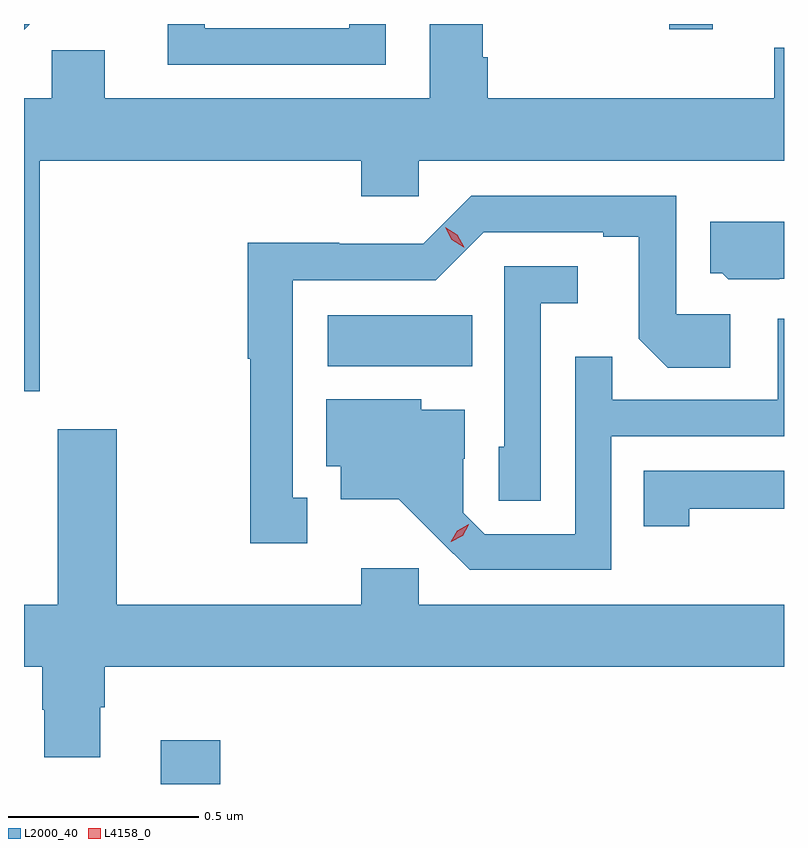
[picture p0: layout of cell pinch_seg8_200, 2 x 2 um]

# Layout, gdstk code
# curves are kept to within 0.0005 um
import gdstk
lib = gdstk.Library(unit=1e-6, precision=1e-09)
def R(c, l, rs):  # rectangles x0, y0, x1, y1
    for r in rs: c.add(gdstk.rectangle(r[:2], r[2:], *l))
def P(c, l, *ps):  # polygons
    for p in ps: c.add(gdstk.Polygon(p, *l))
L2000_40 = (2000, 40)
L4158_0 = (4158, 0)

pinch_seg8_200 = lib.new_cell('pinch_seg8_200')
R(pinch_seg8_200, L2000_40, [(693.713,1140.168,693.869,1140.283), (694.152,1141.268,694.532,1141.402), (695.051,1142.154,695.166,1142.168)])
P(pinch_seg8_200, L2000_40, [(693.394,1141.808),(694.241,1141.808),(694.241,1141.715),(694.392,1141.715),(694.392,1141.808),(695.353,1141.808),(695.353,1142.105),(695.327,1142.105),(695.327,1141.972),(694.574,1141.972),(694.574,1142.081),(694.56,1142.081),(694.56,1142.168),(694.421,1142.168),(694.421,1141.972),(693.565,1141.972),(693.565,1142.099),(693.426,1142.099),(693.426,1141.972),(693.353,1141.972),(693.353,1141.202),(693.394,1141.202)],
  [(693.368,1142.168),(693.353,1142.168),(693.353,1142.153)],
  [(694.305,1142.168),(694.209,1142.168),(694.209,1142.157),(693.828,1142.157),(693.828,1142.168),(693.731,1142.168),(693.731,1142.061),(694.305,1142.061)],
  [(694.099,1140.921),(694.06,1140.921),(694.06,1141.494),(694.437,1141.494),(694.563,1141.62),(694.877,1141.62),(694.877,1141.608),(694.971,1141.608),(694.971,1141.34),(695.047,1141.264),(695.212,1141.264),(695.212,1141.404),(695.07,1141.404),(695.07,1141.716),(694.53,1141.716),(694.404,1141.59),(694.182,1141.59),(694.182,1141.592),(693.942,1141.592),(693.942,1141.287),(693.949,1141.287),(693.949,1140.801),(694.099,1140.801)],
  [(695.34,1141.497),(695.353,1141.497),(695.353,1141.648),(695.159,1141.648),(695.159,1141.512),(695.19,1141.512),(695.206,1141.496),(695.34,1141.496)],
  [(694.713,1141.433),(694.81,1141.433),(694.81,1141.53),(694.617,1141.53),(694.617,1141.056),(694.602,1141.056),(694.602,1140.913),(694.713,1140.913)],
  [(694.899,1141.083),(695.353,1141.083),(695.353,1141.393),(695.337,1141.393),(695.337,1141.179),(694.901,1141.179),(694.901,1141.292),(694.803,1141.292),(694.803,1140.825),(694.566,1140.825),(694.509,1140.882),(694.509,1141.024),(694.513,1141.024),(694.513,1141.153),(694.398,1141.153),(694.398,1141.18),(694.148,1141.18),(694.148,1141.004),(694.187,1141.004),(694.187,1140.917),(694.339,1140.917),(694.526,1140.732),(694.899,1140.732)],
  [(693.553,1140.37),(693.566,1140.37),(693.566,1140.476),(695.353,1140.476),(695.353,1140.64),(694.392,1140.64),(694.392,1140.736),(694.241,1140.736),(694.241,1140.64),(693.597,1140.64),(693.597,1141.102),(693.442,1141.102),(693.442,1140.64),(693.353,1140.64),(693.353,1140.476),(693.401,1140.476),(693.401,1140.363),(693.406,1140.363),(693.406,1140.238),(693.553,1140.238)],
  [(695.103,1140.892),(695.353,1140.892),(695.353,1140.993),(694.984,1140.993),(694.984,1140.846),(695.103,1140.846)])
P(pinch_seg8_200, L4158_0, [(694.476,1140.805),(694.476,1140.805),(694.493,1140.835),(694.524,1140.851),(694.524,1140.851),(694.524,1140.85),(694.507,1140.821),(694.477,1140.805)],
  [(694.51,1141.581),(694.479,1141.6),(694.462,1141.633),(694.462,1141.633),(694.462,1141.633),(694.493,1141.614),(694.511,1141.581),(694.511,1141.581)])

lib.write_gds('pinch_seg8_200.gds')
